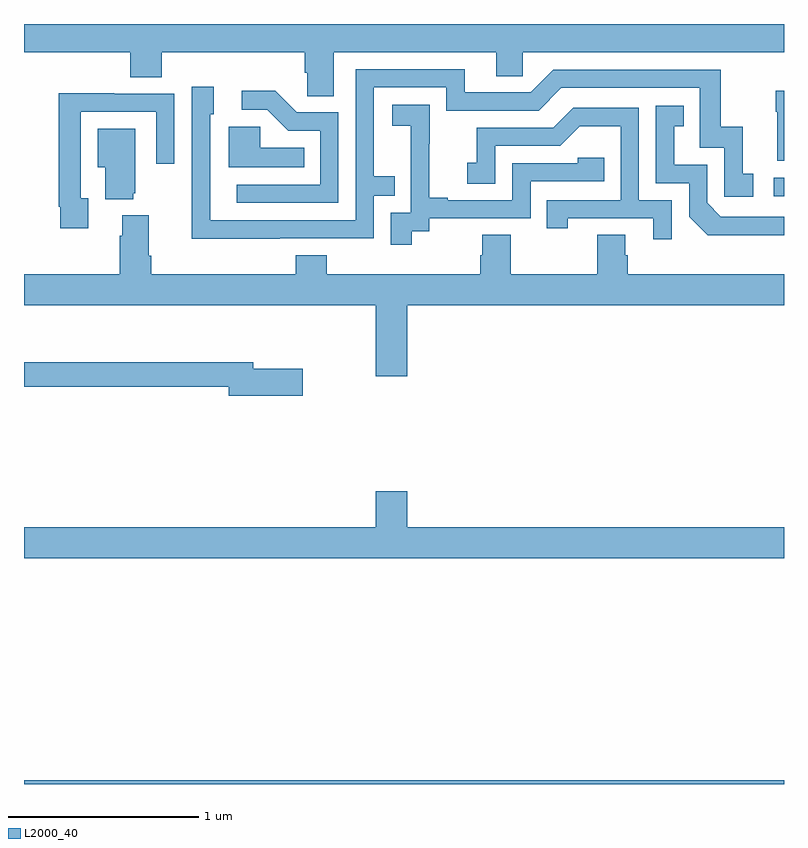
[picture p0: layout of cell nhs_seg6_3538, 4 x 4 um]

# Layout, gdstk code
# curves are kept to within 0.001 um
import gdstk
lib = gdstk.Library(unit=1e-6, precision=1e-09)
def R(c, l, rs):  # rectangles x0, y0, x1, y1
    for r in rs: c.add(gdstk.rectangle(r[:2], r[2:], *l))
def P(c, l, *ps):  # polygons
    for p in ps: c.add(gdstk.Polygon(p, *l))
L2000_40 = (2000, 40)

nhs_seg6_3538 = lib.new_cell('nhs_seg6_3538')
R(nhs_seg6_3538, L2000_40, [(319,927.5,323,927.52), (322.947,930.594,323,930.69)])
P(nhs_seg6_3538, L2000_40, [(320.629,931.352),(321.485,931.352),(321.485,931.225),(321.624,931.225),(321.624,931.352),(323,931.352),(323,931.5),(319,931.5),(319,931.352),(319.559,931.352),(319.559,931.219),(319.724,931.219),(319.724,931.352),(320.477,931.352),(320.477,931.243),(320.49,931.243),(320.49,931.12),(320.629,931.12)],
  [(320.345,930.372),(320.841,930.372),(320.841,930.597),(320.951,930.597),(320.951,930.698),(320.841,930.698),(320.841,931.167),(321.222,931.167),(321.222,931.044),(321.708,931.044),(321.828,931.164),(322.557,931.164),(322.557,930.849),(322.686,930.849),(322.686,930.591),(322.837,930.591),(322.837,930.711),(322.784,930.711),(322.784,930.958),(322.666,930.958),(322.666,931.26),(321.786,931.26),(321.666,931.14),(321.319,931.14),(321.319,931.263),(320.745,931.263),(320.745,930.468),(319.981,930.468),(319.98,931.026),(319.999,931.026),(319.999,931.171),(319.884,931.171),(319.884,930.677),(319.882,930.677),(319.882,930.371)],
  [(323,931.15),(322.957,931.15),(322.957,931.037),(322.964,931.037),(322.964,930.779),(323,930.779)],
  [(320.655,931.035),(320.436,931.035),(320.323,931.148),(320.145,931.148),(320.145,931.05),(320.279,931.05),(320.39,930.939),(320.559,930.939),(320.559,930.654),(320.121,930.654),(320.121,930.558),(320.655,930.558)],
  [(319.339,930.582),(319.299,930.582),(319.299,931.038),(319.695,931.038),(319.695,930.765),(319.791,930.765),(319.791,931.134),(319.475,931.134),(319.475,931.136),(319.183,931.136),(319.183,930.538),(319.191,930.538),(319.191,930.426),(319.339,930.426)],
  [(321.04,930.409),(321.132,930.409),(321.132,930.477),(321.666,930.477),(321.666,930.672),(322.055,930.672),(322.055,930.795),(321.915,930.795),(321.915,930.768),(321.57,930.768),(321.57,930.573),(321.229,930.573),(321.229,930.586),(321.134,930.586),(321.134,930.869),(321.135,930.869),(321.135,931.075),(320.937,931.075),(320.937,930.965),(321.035,930.965),(321.035,930.737),(321.036,930.737),(321.036,930.507),(320.931,930.507),(320.931,930.339),(321.04,930.339)],
  [(323,930.486),(322.668,930.486),(322.596,930.558),(322.596,930.759),(322.423,930.759),(322.423,930.963),(322.472,930.963),(322.472,931.069),(322.326,931.069),(322.326,930.663),(322.5,930.663),(322.5,930.486),(322.598,930.389),(323,930.389)],
  [(322.41,930.573),(322.236,930.573),(322.236,931.059),(321.89,931.059),(321.785,930.954),(321.382,930.954),(321.382,930.769),(321.333,930.769),(321.333,930.66),(321.48,930.66),(321.48,930.858),(321.822,930.858),(321.926,930.962),(322.14,930.962),(322.14,930.573),(321.751,930.573),(321.751,930.426),(321.862,930.426),(321.862,930.477),(322.313,930.477),(322.313,930.366),(322.41,930.366)],
  [(320.474,930.85),(320.244,930.85),(320.244,930.958),(320.078,930.958),(320.078,930.746),(320.474,930.746)],
  [(319.574,930.609),(319.585,930.609),(319.585,930.949),(319.388,930.949),(319.388,930.746),(319.427,930.746),(319.427,930.578),(319.574,930.578)],
  [(321.016,930.02),(323,930.02),(323,930.184),(322.178,930.184),(322.178,930.282),(322.165,930.282),(322.165,930.392),(322.018,930.392),(322.018,930.184),(321.561,930.184),(321.561,930.392),(321.413,930.392),(321.413,930.282),(321.401,930.282),(321.401,930.184),(320.594,930.184),(320.594,930.283),(320.429,930.283),(320.429,930.184),(319.67,930.184),(319.67,930.28),(319.657,930.28),(319.657,930.493),(319.517,930.493),(319.517,930.386),(319.505,930.386),(319.505,930.184),(319,930.184),(319,930.02),(320.852,930.02),(320.852,929.646),(321.016,929.646)],
  [(320.467,929.685),(320.206,929.685),(320.206,929.719),(319,929.719),(319,929.59),(320.078,929.59),(320.078,929.543),(320.467,929.543)],
  [(323,928.852),(321.016,928.852),(321.016,929.041),(320.852,929.041),(320.852,928.852),(319,928.852),(319,928.688),(323,928.688)])

lib.write_gds('nhs_seg6_3538.gds')
